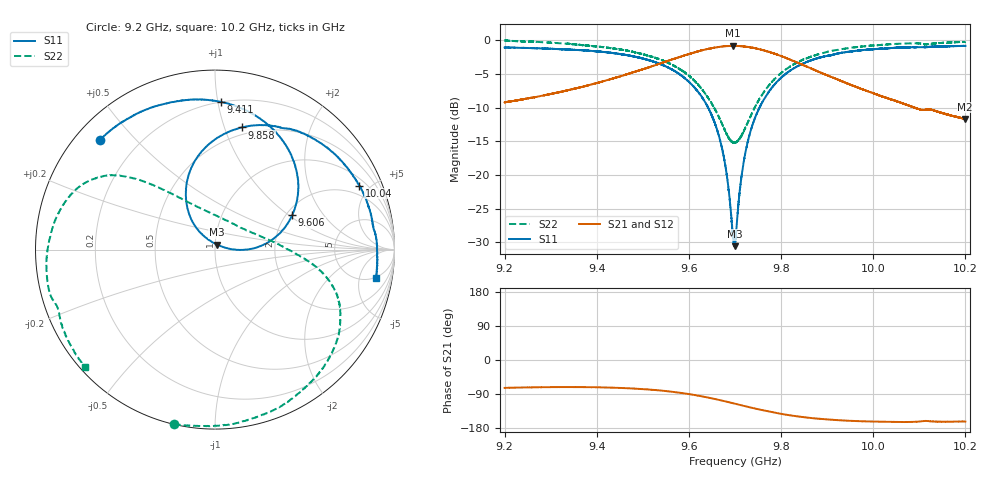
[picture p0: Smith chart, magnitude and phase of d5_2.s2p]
!Agilent Technologies,N5242A,MY51221714,A.09.90.19
!Agilent N5242A: A.09.90.19
!Date: Tuesday, March 26, 2024 16:17:02
!Correction: S11(Full 2 Port(1,2))
!S21(Full 2 Port(1,2))
!S12(Full 2 Port(1,2))
!S22(Full 2 Port(1,2))
!S2P File: Measurements: S11, S21, S12, S22:
# Hz S  dB  R 50
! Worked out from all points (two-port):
!   16001 points, 9.2 GHz to 10.2 GHz, reference 50 ohm
!   highest |S21| = -0.80 dB at 9.696 GHz (marker M1); lowest = -11.7 dB at 10.2 GHz (marker M2)
!   |S21| within 3 dB of the highest: 9.521749 GHz to 9.521896 GHz (146.8 kHz wide, 0.00154 % of centre); 9.522 GHz to 9.853 GHz (330.9 MHz wide, 3.42 % of centre)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
!   lowest |S11| = -30.6 dB at 9.699 GHz (marker M3), VSWR 1.06, Z = 50.8 + j2.88 ohm
!   |S11| at or under -10 dB: 9.642 GHz to 9.753 GHz (111.5 MHz wide, 1.15 % of centre)
!   |S22| runs from -15.3 to 0.0 dB; largest |S21 - S12| = 0.012
!   S11 on the Smith chart (normalised r, x): 9.2 GHz: 0.07, +0.40; 9.411 GHz: 0.20, +1.02; 9.606 GHz: 2.15, +1.06; 9.858 GHz: 0.43, +1.15; 10.04 GHz: 1.36, +4.31; 10.2 GHz: 5, -9
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9.2e9  -1.06 136.3  -9.20 -73.6  -9.18 -74.4  -0.03 -103.3
9.277188e9  -1.19 119.6  -8.27 -71.9  -8.27 -72.5  -0.24 -82.2
9.366688e9  -1.45 98.7  -6.93 -71.6  -6.91 -72.2  -0.70 -58.9
9.410812e9  -1.71 87.6  -6.13 -72.2  -6.12 -73.0  -0.97 -47.9
9.533375e9  -3.41 51.1  -3.54 -80.0  -3.52 -80.5  -2.72 -20.9
9.605688e9  -6.54 24.2  -1.92 -91.0  -1.90 -91.7  -5.57 -7.2
9.640375e9  -9.82 9.6  -1.28 -98.8  -1.28 -99.4  -8.40 2.5
9.665125e9  -14.21 0.8  -0.97 -105.4  -0.97 -105.9  -11.38 15.4
9.681438e9  -19.65 0.7  -0.86 -109.9  -0.84 -110.5  -13.85 33.0
9.69575e9  -29.24 37.7  -0.80 -114.1  -0.80 -114.6  -15.19 58.6
9.699188e9  -30.58 73.3  -0.82 -115.2  -0.80 -115.7  -15.22 65.4
9.7e9  -30.16 80.6  -0.81 -115.4  -0.80 -115.9  -15.14 66.7
9.720125e9  -17.60 130.9  -0.90 -121.3  -0.89 -121.9  -13.34 101.1
9.7465e9  -11.00 123.2  -1.21 -128.8  -1.19 -129.5  -9.51 122.8
9.7935e9  -5.98 103.3  -2.15 -140.6  -2.17 -141.3  -5.24 136.2
9.858375e9  -3.14 77.5  -3.96 -152.2  -3.97 -152.8  -2.58 146.5
9.866688e9  -2.92 74.6  -4.20 -153.2  -4.21 -153.8  -2.37 147.9
9.934375e9  -1.81 52.9  -6.14 -159.5  -6.14 -160.1  -1.26 160.1
1.003338e10  -1.16 26.5  -8.66 -163.2  -8.64 -163.8  -0.58 -178.9
1.004362e10  -1.11 23.9  -8.87 -163.4  -8.87 -163.9  -0.54 -176.6
1.019975e10  -0.82 -9.9  -11.68 -162.3  -11.68 -162.8  -0.23 -138.0
1.02e10  -0.80 -10.0  -11.67 -162.3  -11.68 -162.9  -0.22 -137.8
